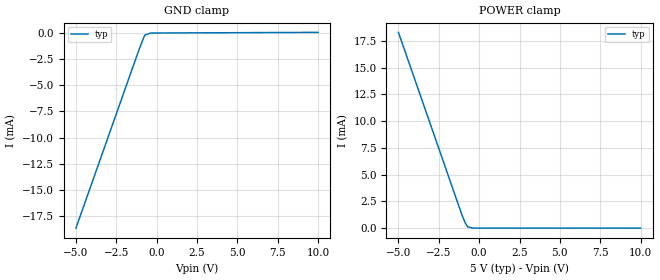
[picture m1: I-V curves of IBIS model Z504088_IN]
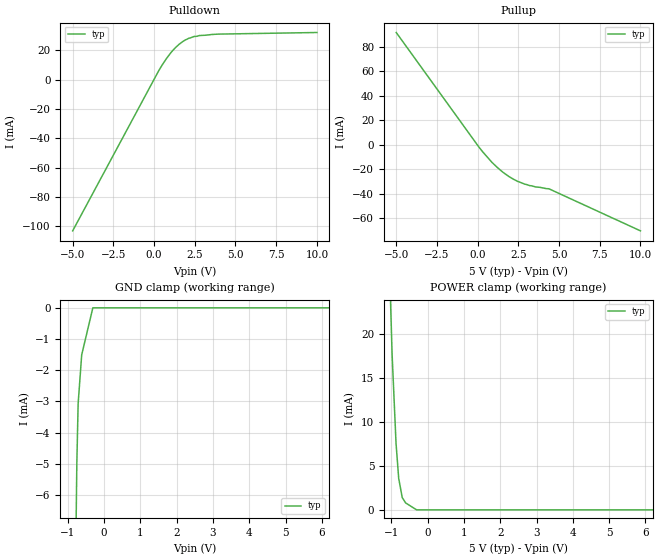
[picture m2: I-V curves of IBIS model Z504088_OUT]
| YOU ARE ONLY AUTHORIZED TO USE THIS SOFTWARE
| ACCORDING TO LICENSOR'S LICENSE RESTRICTIONS.
[IBIS Ver] 3.1
[File Name] mc54hc280j.ibs
[File Rev] 2.0
[Source] Measured and created by ICX Technology
[Date] Friday 7/14/00 9:08:06 AM
[Copyright]
| (C) COPYRIGHT 1993-2000
| MENTOR GRAPHICS CORPORATION
| ICX STANDARD LIBRARY, ICX PROJECT MODELING,
| ICX CUSTOM MODELING, ICX VENDOR MODEL
| ALL RIGHTS RESERVED.
| THE FOLLOWING ARE TRADEMARKS OR SERVICE MARKS OF
| MENTOR GRAPHICS CORPORATION:ICX (R), ICX STANDARD
| LIBRARY(R), ICX PROJECT MODELING(R), ICX CUSTOM
| MODELING(R), qualityIBIS(TM), MODELVIEWER(TM),
| AND MODELEDITOR(TM)
| ALL COPIES OF SOFTWARE, INCLUDING BUT NOT LIMITED TO
| ANY MODIFICATIONS, ENHANCEMENTS OR DERIVATIVE WORKS,
| MUST CONTAIN ALL MENTOR GRAPHICS CORPORATION'S
| NOTICES AND LEGENDS, INCLUDING THOSE EMBEDDED IN
| SOFTWARE AND THOSE AFFIXED TO SOFTWARE MEDIUM
| AND CONTAINER, AS RECEIVED FROM MENTOR GRAPHICS
| CORPORATION.
|  ZAP Model Builder 2.7
[Component] MC54HC280J
[Manufacturer] OnSemiconductor
[Package]
| variable   typ   min   max
R_pkg  .21ohms NA NA
L_pkg  4.543nH NA NA
C_pkg  1.8pF NA NA
[Pin] signal_name  model_name  R_pin  L_pin C_pin
1 G Z504088_IN .22 6.757n 2.434p
2 H Z504088_IN .212 4.757n 1.941p
3 NC NC .204 3.257n 1.448p
4 I Z504088_IN .196 2.257n .955p
5 EVEN Z504088_OUT .204 3.257n 1.448p
6 _ODD Z504088_OUT .212 4.757n 1.941p
7 GND GND .22 6.757n 2.434p
8 A Z504088_IN .22 6.757n 2.434p
9 B Z504088_IN .212 4.757n 1.941p
10 C Z504088_IN .204 3.257n 1.448p
11 D Z504088_IN .196 2.257n .955p
12 E Z504088_IN .204 3.257n 1.448p
13 F Z504088_IN .212 4.757n 1.941p
14 VCC POWER .22 6.757n 2.434p
| Models and submodels in the file (2): Z504088_IN (Input), Z504088_OUT (Output)
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| (C) COPYRIGHT 1993-2000
| MENTOR GRAPHICS CORPORATION
| ICX STANDARD LIBRARY, ICX PROJECT MODELING,
| ICX CUSTOM MODELING, ICX VENDOR MODEL
| ALL RIGHTS RESERVED.
| THE FOLLOWING ARE TRADEMARKS OR SERVICE MARKS OF
| MENTOR GRAPHICS CORPORATION:ICX (R), ICX STANDARD
| LIBRARY(R), ICX PROJECT MODELING(R), ICX CUSTOM
| MODELING(R), qualityIBIS(TM), MODELVIEWER(TM),
| AND MODELEDITOR(TM)
| ALL COPIES OF SOFTWARE, INCLUDING BUT NOT LIMITED TO
| ANY MODIFICATIONS, ENHANCEMENTS OR DERIVATIVE WORKS,
| MUST CONTAIN ALL MENTOR GRAPHICS CORPORATION'S
| NOTICES AND LEGENDS, INCLUDING THOSE EMBEDDED IN
| SOFTWARE AND THOSE AFFIXED TO SOFTWARE MEDIUM
| AND CONTAINER, AS RECEIVED FROM MENTOR GRAPHICS
| CORPORATION.
| Model Application Version 1.89 2/18/99.
[Model] Z504088_IN
Model_type Input
Vinl = 1.000V
Vinh = 3.500V
C_comp 4.000pF NA NA
| variable typ   min   max
[Voltage Range] 5.000V NA NA
[GND Clamp Reference] 0.000V NA NA
[POWER Clamp Reference] 5.000V NA NA
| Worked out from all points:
|   POWER clamp passes 1 mA (typ) near -1.00 V on its own axis
[GND Clamp]
-5V       -18.64mA   NA         NA
-1.133V   -1.79mA    NA         NA
-841.7mV  -609uA     NA         NA
-729.3mV  -221.5uA   NA         NA
-364.7mV  -28.95uA   NA         NA
10V       34.63uA    NA         NA
[POWER Clamp]
-5V       18.29mA    NA         NA
-1.079V   1.286mA    NA         NA
-866mV    501.8uA    NA         NA
-709mV    114.8uA    NA         NA
-354.5mV  0A         NA         NA
10V       0A         NA         NA
| (C) COPYRIGHT 1993-2000
| MENTOR GRAPHICS CORPORATION
| ICX STANDARD LIBRARY, ICX PROJECT MODELING,
| ICX CUSTOM MODELING, ICX VENDOR MODEL
| ALL RIGHTS RESERVED.
| THE FOLLOWING ARE TRADEMARKS OR SERVICE MARKS OF
| MENTOR GRAPHICS CORPORATION:ICX (R), ICX STANDARD
| LIBRARY(R), ICX PROJECT MODELING(R), ICX CUSTOM
| MODELING(R), qualityIBIS(TM), MODELVIEWER(TM),
| AND MODELEDITOR(TM)
| ALL COPIES OF SOFTWARE, INCLUDING BUT NOT LIMITED TO
| ANY MODIFICATIONS, ENHANCEMENTS OR DERIVATIVE WORKS,
| MUST CONTAIN ALL MENTOR GRAPHICS CORPORATION'S
| NOTICES AND LEGENDS, INCLUDING THOSE EMBEDDED IN
| SOFTWARE AND THOSE AFFIXED TO SOFTWARE MEDIUM
| AND CONTAINER, AS RECEIVED FROM MENTOR GRAPHICS
| CORPORATION.
| Model Application Version 1.89 2/18/99.
[Model] Z504088_OUT
Model_type Output
Vref=0.000V
Rref=500.0Mohms
Cref=50.00pF
Vmeas=2.500V
C_comp 8.000pF NA NA
| variable typ   min   max
[Voltage Range] 5.000V NA NA
[POWER Clamp Reference] 5.000V NA NA
[Pullup Reference] 5.000V NA NA
[Pulldown Reference] 0.000V NA NA
[GND Clamp Reference] 0.000V NA NA
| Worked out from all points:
|   slope of the pulldown table from 0 to 0.75 V, typ, clamps not added: 53.6 ohm
|   slope of the pullup table from 0 to 0.75 V, typ, clamps not added: 62.6 ohm
|   POWER clamp passes 1 mA (typ) near -0.64 V on its own axis
[GND Clamp]
-5V       -693.3mA   NA         NA
-1.273V   -63.26mA   NA         NA
-1.03V    -31.83mA   NA         NA
-748.6mV  -4.982mA   NA         NA
-712.9mV  -3.078mA   NA         NA
-614.9mV  -1.508mA   NA         NA
-307.4mV  0A         NA         NA
10V       0A         NA         NA
[Pulldown]
-5V       -103mA     NA         NA
299.3mV   6.297mA    NA         NA
771.5mV   14.47mA    NA         NA
1.064V    18.74mA    NA         NA
1.537V    24mA       NA         NA
2.13V     28.13mA    NA         NA
2.787V    29.97mA    NA         NA
3.965V    30.94mA    NA         NA
10V       32.03mA    NA         NA
[Pullup]
-5V       91.64mA    NA         NA
40mV      -1.243mA   NA         NA
864mV     -14.21mA   NA         NA
1.557V    -22.54mA   NA         NA
2.168V    -27.98mA   NA         NA
2.9V      -32.27mA   NA         NA
3.574V    -34.55mA   NA         NA
4.373V    -35.99mA   NA         NA
10V       -70.37mA   NA         NA
[POWER Clamp]
-5V       1.046A     NA         NA
-1.191V   55.04mA    NA         NA
-1.044V   26.99mA    NA         NA
-977mV    17.66mA    NA         NA
-869mV    7.571mA    NA         NA
-796mV    3.587mA    NA         NA
-698mV    1.393mA    NA         NA
-604mV    785uA      NA         NA
-302mV    0A         NA         NA
10V       0A         NA         NA
[Ramp]
| variable typ min max
dV/dt_r 2.693/1.862n NA NA
dV/dt_f 2.693/2.094n NA NA
R_load = 500.0Ohms
